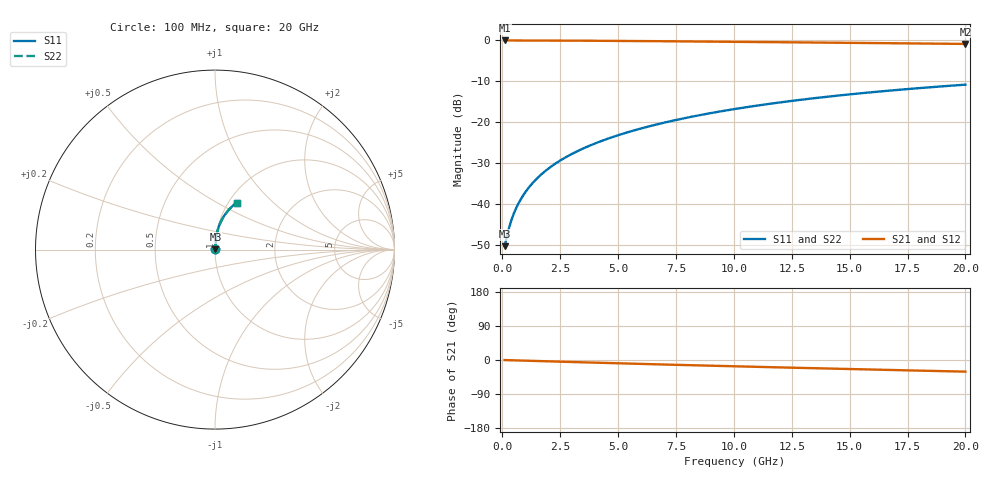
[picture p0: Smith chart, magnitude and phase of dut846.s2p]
! Touchstone file exported from HFSS 2024.1.0
!  File:  C:/UserFiles/LocalFiles/RDL_TSV_Batchsim/temp_RDL_bottom_846_1779863908.aedt
!  Generated:  02:41:05 PM May 27, 2026
!  Design:  RDL_bottom
!  Project:  temp_RDL_bottom_846_1779863908
!  Setup:  Setup1
!  Solution:  Sweep
! Variables:
!  dtsv = 10.80580581um
!  hbump = 3um
!  htsv = 63.18um
!  ldown = 446.13um
!  lrdl = 100um
!  p = 40
!  p1 = 40.47um
!  rhole = 1um
!  t = 450um
!  tdown = 3.25um
!  trdl = 3.915915916um
!  wdown = 19.41um
!  wrdl = 20um
# GHz S MA R 50.000000
! Terminal data exported
! Port[1] = RDL1_T1
! Port[2] = RDL1_T2
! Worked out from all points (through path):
!   200 points, 100 MHz to 20 GHz, reference 50 ohm
!   highest |S21| = -0.02 dB at 100 MHz (marker M1); lowest = -0.9 dB at 20 GHz (marker M2)
!   group delay of S21, straight-line fit = 4.24 ps
!   lowest |S11| = -50.2 dB at 100 MHz (marker M3), VSWR 1.01, Z = 50.3 + j0.153 ohm
!   |S11| at or under -10 dB: start of sweep to end of sweep
!   |S22| runs from -50.2 to -10.8 dB; largest |S21 - S12| = 2.6e-15
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0.1  0.003103 29.4  0.9973 -0.2  0.9973 -0.2  0.003103 29.4
! Gamma 0 0 0 0
! Port Impedance 50 0 50 0
0.2  0.004107 46.8  0.9972 -0.4  0.9972 -0.4  0.004107 46.8
0.3  0.005296 56.4  0.997 -0.6  0.997 -0.6  0.005296 56.3
0.4  0.006532 62.2  0.9969 -0.7  0.9969 -0.7  0.006532 62.2
0.5  0.007782 66.1  0.9967 -0.9  0.9967 -0.9  0.007782 66.1
0.6  0.009041 69.1  0.9966 -1.1  0.9966 -1.1  0.009041 69.1
0.8  0.01159 73.2  0.9964 -1.4  0.9964 -1.4  0.01159 73.2
1  0.01417 76.0  0.9961 -1.8  0.9961 -1.8  0.01417 76.0
1.2  0.01679 77.9  0.9958 -2.2  0.9958 -2.2  0.01679 77.9
1.4  0.01944 79.4  0.9955 -2.5  0.9955 -2.5  0.01944 79.4
1.7  0.02344 80.9  0.995 -3.0  0.995 -3.0  0.02344 80.9
2.2  0.03021 82.5  0.994 -3.9  0.994 -3.9  0.03021 82.5
2.8  0.03845 83.5  0.9925 -5.0  0.9925 -5.0  0.03845 83.5
3.5  0.04824 84.1  0.9903 -6.2  0.9903 -6.2  0.04823 84.1
4.2  0.05819 84.2  0.9878 -7.4  0.9878 -7.4  0.05818 84.2
5  0.06976 84.1  0.9846 -8.7  0.9846 -8.7  0.06975 84.1
6.8  0.09645 82.9  0.9764 -11.6  0.9764 -11.6  0.09644 82.9
8.4  0.1207 81.3  0.9684 -14.1  0.9684 -14.1  0.1207 81.3
10.1  0.1466 79.2  0.9595 -16.7  0.9595 -16.7  0.1466 79.2
13.4  0.1963 74.7  0.9416 -21.6  0.9416 -21.6  0.1962 74.7
16.7  0.2438 69.9  0.9234 -26.2  0.9234 -26.2  0.2438 69.9
20  0.2884 65.2  0.9049 -30.7  0.9049 -30.7  0.2883 65.2
